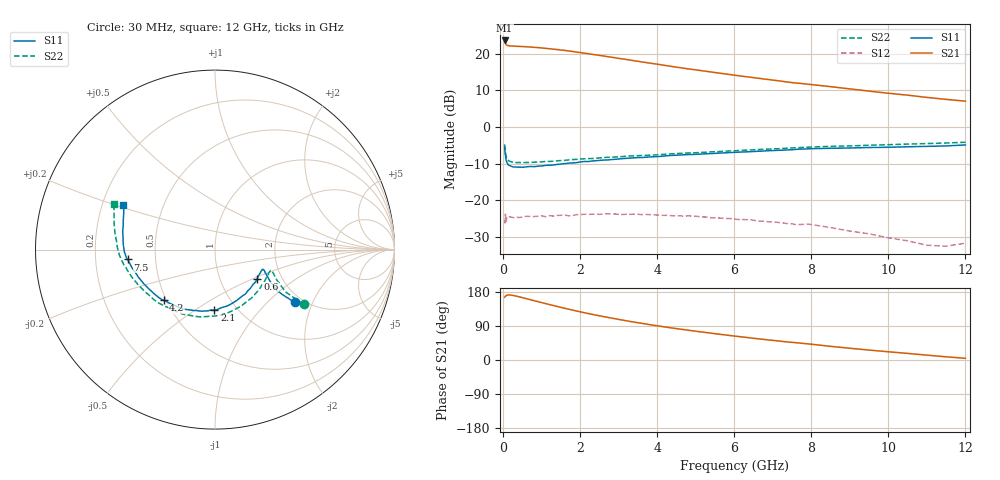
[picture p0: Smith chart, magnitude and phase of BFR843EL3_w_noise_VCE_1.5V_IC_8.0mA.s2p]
! Infineon Technologies  Discrete & RF Semiconductors
! BFR843EL3
! VCE =  1.5 V,  IC =  8.0 mA
! Common Emitter S-Parameters:  Aug 2013
# GHz  S  MA  R  50
!  f  S11  S21  S12  S22
! GHz  MAG  ANG  MAG  ANG  MAG  ANG  MAG  ANG
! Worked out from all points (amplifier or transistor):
!   103 points, 30 MHz to 12 GHz, reference 50 ohm
!   highest |S21| = 23.6 dB at 30 MHz (marker M1)
!   |S21| within 3 dB of that: start of sweep to 1.788 GHz
!   unconditionally stable (mu >= 1): 5.903 GHz to end of sweep
!   at 400 MHz: K = 0.99, MSG = 23.4 dB, |S12| = -24.7 dB
!   at 3.7 GHz: K = 0.82, MSG = 20.7 dB, |S12| = -23.9 dB
!   at 12 GHz: K = 3.51, MAG = 11.0 dB, |S12| = -31.7 dB
!   lowest NFmin = 0.89 dB at 450 MHz
!   S11 on the Smith chart (normalised r, x): 30 MHz: 1.81, -1.48; 600 MHz: 1.50, -0.53; 2.1 GHz: 0.79, -0.60; 4.2 GHz: 0.48, -0.33; 7.5 GHz: 0.34, -0.05; 12 GHz: 0.29, +0.21
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0.03  0.5316 -33.5  15.19 165.7  0.048 35.0  0.5796 -31.7
0.04  0.4602 -33.7  14.38 166.8  0.0519 28.0  0.5041 -31.3
0.06  0.376 -31.4  13.52 169.0  0.0509 13.3  0.421 -28.9
0.09  0.329 -27.2  13.09 170.9  0.057 11.5  0.3731 -24.9
0.15  0.2995 -23.1  12.82 171.7  0.0594 7.6  0.3432 -21.1
0.35  0.2834 -25.1  12.63 168.2  0.0586 5.3  0.3254 -23.7
0.6  0.2861 -34.5  12.45 161.8  0.0604 3.4  0.3278 -32.8
1  0.2933 -51.5  12 151.3  0.0611 1.8  0.3346 -49.3
1.4  0.3084 -67.0  11.41 141.2  0.062 1.8  0.346 -64.6
1.7  0.3212 -77.7  10.91 133.9  0.0612 1.2  0.3555 -75.3
2.1  0.3384 -90.5  10.2 124.8  0.0644 0.0  0.3684 -88.1
2.6  0.3535 -104.6  9.325 114.5  0.065 -2.0  0.3824 -101.5
3  0.3662 -113.7  8.64 107.0  0.0642 -4.5  0.3927 -111.2
3.5  0.3821 -124.1  7.88 98.2  0.0643 -7.0  0.4064 -121.6
4.1  0.398 -133.9  7.064 88.7  0.0623 -9.2  0.421 -131.4
4.2  0.4027 -135.4  6.933 87.1  0.0622 -9.1  0.4244 -133.1
5.1  0.4267 -148.5  5.921 74.5  0.0596 -13.4  0.4478 -146.1
6.1  0.4533 -160.0  5.019 62.1  0.0546 -15.9  0.4768 -157.9
7.5  0.4897 -173.6  4.038 46.6  0.0477 -18.0  0.5181 -171.9
8.5  0.5125 176.4  3.553 36.0  0.0423 -22.8  0.5445 178.7
10.5  0.5366 162.3  2.72 17.4  0.0279 -9.5  0.5841 164.4
12  0.5693 154.4  2.253 4.5  0.0259 20.9  0.6187 155.8
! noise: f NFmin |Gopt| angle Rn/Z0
0.45  0.89  0.09  34  0.12
0.9  0.9  0.1  48  0.12
1.5  0.92  0.11  60  0.13
1.9  0.94  0.11  65  0.13
2.4  0.96  0.12  79  0.12
3.5  0.99  0.13  96  0.12
5.5  1.05  0.18  132  0.11
8  1.12  0.28  170  0.07
10  1.18  0.4  209  0.06
